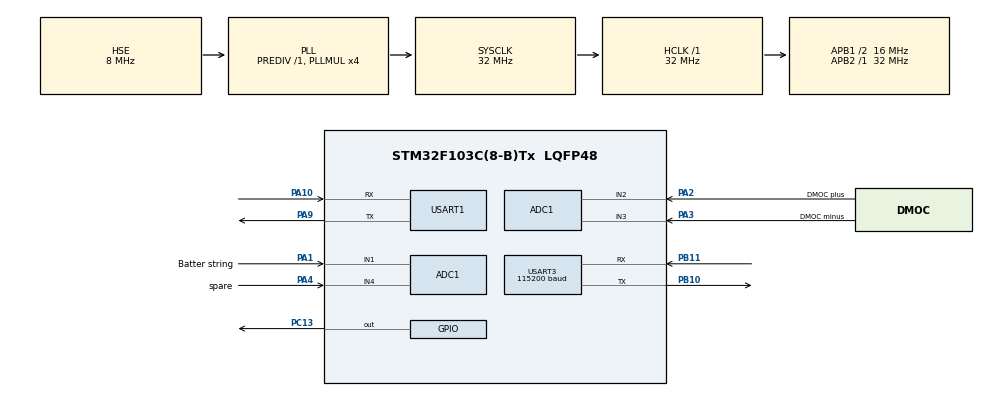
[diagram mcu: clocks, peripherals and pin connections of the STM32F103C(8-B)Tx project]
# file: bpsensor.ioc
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ADC1.Channel-0\#ChannelRegularConversion=ADC_CHANNEL_1
ADC1.Channel-1\#ChannelRegularConversion=ADC_CHANNEL_2
ADC1.Channel-2\#ChannelRegularConversion=ADC_CHANNEL_3
ADC1.Channel-3\#ChannelRegularConversion=ADC_CHANNEL_4
ADC1.Channel-4\#ChannelRegularConversion=ADC_CHANNEL_TEMPSENSOR
ADC1.Channel-5\#ChannelRegularConversion=ADC_CHANNEL_VREFINT
ADC1.ContinuousConvMode=ENABLE
ADC1.InjNumberOfConversion=0
ADC1.NbrOfConversion=6
ADC1.NbrOfConversionFlag=1
ADC1.Rank-0\#ChannelRegularConversion=1
ADC1.Rank-1\#ChannelRegularConversion=2
ADC1.Rank-2\#ChannelRegularConversion=3
ADC1.Rank-3\#ChannelRegularConversion=4
ADC1.Rank-4\#ChannelRegularConversion=5
ADC1.Rank-5\#ChannelRegularConversion=6
ADC1.SamplingTime-0\#ChannelRegularConversion=ADC_SAMPLETIME_28CYCLES_5
ADC1.SamplingTime-1\#ChannelRegularConversion=ADC_SAMPLETIME_28CYCLES_5
ADC1.SamplingTime-2\#ChannelRegularConversion=ADC_SAMPLETIME_28CYCLES_5
ADC1.SamplingTime-3\#ChannelRegularConversion=ADC_SAMPLETIME_28CYCLES_5
ADC1.SamplingTime-4\#ChannelRegularConversion=ADC_SAMPLETIME_239CYCLES_5
ADC1.SamplingTime-5\#ChannelRegularConversion=ADC_SAMPLETIME_239CYCLES_5
ADC1.master=1
Dma.ADC1.2.Direction=DMA_PERIPH_TO_MEMORY
Dma.ADC1.2.Instance=DMA1_Channel1
Dma.ADC1.2.MemDataAlignment=DMA_MDATAALIGN_HALFWORD
Dma.ADC1.2.MemInc=DMA_MINC_ENABLE
Dma.ADC1.2.Mode=DMA_CIRCULAR
Dma.ADC1.2.PeriphDataAlignment=DMA_PDATAALIGN_HALFWORD
Dma.ADC1.2.PeriphInc=DMA_PINC_DISABLE
Dma.ADC1.2.Priority=DMA_PRIORITY_LOW
Dma.Request0=USART1_RX
Dma.Request1=USART1_TX
Dma.Request2=ADC1
Dma.Request3=USART3_TX
Dma.Request4=USART3_RX
Dma.USART1_RX.0.Direction=DMA_PERIPH_TO_MEMORY
Dma.USART1_RX.0.Instance=DMA1_Channel5
Dma.USART1_RX.0.MemDataAlignment=DMA_MDATAALIGN_BYTE
Dma.USART1_RX.0.MemInc=DMA_MINC_ENABLE
Dma.USART1_RX.0.Mode=DMA_CIRCULAR
Dma.USART1_RX.0.PeriphDataAlignment=DMA_PDATAALIGN_BYTE
Dma.USART1_RX.0.PeriphInc=DMA_PINC_DISABLE
Dma.USART1_RX.0.Priority=DMA_PRIORITY_LOW
Dma.USART1_TX.1.Direction=DMA_MEMORY_TO_PERIPH
Dma.USART1_TX.1.Instance=DMA1_Channel4
Dma.USART1_TX.1.MemDataAlignment=DMA_MDATAALIGN_BYTE
Dma.USART1_TX.1.MemInc=DMA_MINC_ENABLE
Dma.USART1_TX.1.Mode=DMA_NORMAL
Dma.USART1_TX.1.PeriphDataAlignment=DMA_PDATAALIGN_BYTE
Dma.USART1_TX.1.PeriphInc=DMA_PINC_DISABLE
Dma.USART1_TX.1.Priority=DMA_PRIORITY_LOW
Dma.USART3_RX.4.Direction=DMA_PERIPH_TO_MEMORY
Dma.USART3_RX.4.Instance=DMA1_Channel3
Dma.USART3_RX.4.MemDataAlignment=DMA_MDATAALIGN_BYTE
Dma.USART3_RX.4.MemInc=DMA_MINC_ENABLE
Dma.USART3_RX.4.Mode=DMA_CIRCULAR
Dma.USART3_RX.4.PeriphDataAlignment=DMA_PDATAALIGN_BYTE
Dma.USART3_RX.4.PeriphInc=DMA_PINC_DISABLE
Dma.USART3_RX.4.Priority=DMA_PRIORITY_LOW
Dma.USART3_TX.3.Direction=DMA_MEMORY_TO_PERIPH
Dma.USART3_TX.3.Instance=DMA1_Channel2
Dma.USART3_TX.3.MemDataAlignment=DMA_MDATAALIGN_BYTE
Dma.USART3_TX.3.MemInc=DMA_MINC_ENABLE
Dma.USART3_TX.3.Mode=DMA_NORMAL
Dma.USART3_TX.3.PeriphDataAlignment=DMA_PDATAALIGN_BYTE
Dma.USART3_TX.3.PeriphInc=DMA_PINC_DISABLE
Dma.USART3_TX.3.Priority=DMA_PRIORITY_LOW
FREERTOS.INCLUDE_uxTaskGetStackHighWaterMark=1
FREERTOS.INCLUDE_xTaskGetCurrentTaskHandle=1
FREERTOS.INCLUDE_xTaskGetHandle=1
FREERTOS.MEMORY_ALLOCATION=2
FREERTOS.Tasks01=defaultTask,-3,304,StartDefaultTask,Default,NULL,Dynamic,NULL,NULL
FREERTOS.configCHECK_FOR_STACK_OVERFLOW=2
FREERTOS.configTOTAL_HEAP_SIZE=8192
FREERTOS.configUSE_TIMERS=1
Mcu.Family=STM32F1
Mcu.Name=STM32F103C(8-B)Tx
Mcu.Package=LQFP48
NVIC.DMA1_Channel1_IRQn=true\:5\:0\:false\:false\:true\:true\:false
NVIC.DMA1_Channel2_IRQn=true\:5\:0\:false\:false\:true\:true\:false
NVIC.DMA1_Channel3_IRQn=true\:5\:0\:false\:false\:true\:true\:false
NVIC.DMA1_Channel4_IRQn=true\:5\:0\:false\:false\:true\:true\:false
NVIC.DMA1_Channel5_IRQn=true\:5\:0\:false\:false\:true\:true\:false
NVIC.PriorityGroup=NVIC_PRIORITYGROUP_4
NVIC.TIM3_IRQn=true\:0\:0\:false\:false\:true\:false\:false
NVIC.TimeBase=TIM3_IRQn
NVIC.TimeBaseIP=TIM3
NVIC.USART1_IRQn=true\:8\:0\:true\:false\:true\:true\:true
NVIC.USART3_IRQn=true\:6\:0\:true\:false\:true\:true\:true
PA1.GPIO_Label=Batter string
PA1.Signal=ADCx_IN1
PA10.Mode=Asynchronous
PA10.Signal=USART1_RX
PA13.Mode=Serial_Wire
PA13.Signal=SYS_JTMS-SWDIO
PA14.Mode=Serial_Wire
PA14.Signal=SYS_JTCK-SWCLK
PA2.GPIO_Label=DMOC plus
PA2.Signal=ADCx_IN2
PA3.GPIO_Label=DMOC minus
PA3.Signal=ADCx_IN3
PA4.GPIO_Label=spare
PA4.Signal=ADCx_IN4
PA9.Mode=Asynchronous
PA9.Signal=USART1_TX
PB10.Mode=Asynchronous
PB10.Signal=USART3_TX
PB11.GPIO_PuPd=GPIO_PULLDOWN
PB11.Mode=Asynchronous
PB11.Signal=USART3_RX
PC13-TAMPER-RTC.Signal=GPIO_Output
PD0-OSC_IN.Mode=HSE-External-Oscillator
PD0-OSC_IN.Signal=RCC_OSC_IN
PD1-OSC_OUT.Mode=HSE-External-Oscillator
PD1-OSC_OUT.Signal=RCC_OSC_OUT
ProjectManager.HeapSize=0x200
ProjectManager.StackSize=0x400
ProjectManager.TargetToolchain=Makefile
RCC.ADCPresc=RCC_ADCPCLK2_DIV6
RCC.AHBFreq_Value=32000000
RCC.APB1CLKDivider=RCC_HCLK_DIV2
RCC.APB1Freq_Value=16000000
RCC.APB1TimFreq_Value=32000000
RCC.APB2Freq_Value=32000000
RCC.APB2TimFreq_Value=32000000
RCC.HCLKFreq_Value=32000000
RCC.PLLMUL=RCC_PLL_MUL4
RCC.PLLSourceVirtual=RCC_PLLSOURCE_HSE
RCC.SYSCLKFreq_VALUE=32000000
RCC.SYSCLKSource=RCC_SYSCLKSOURCE_PLLCLK
RCC.USBFreq_Value=32000000
SH.ADCx_IN1.0=ADC1_IN1,IN1
SH.ADCx_IN2.0=ADC1_IN2,IN2
SH.ADCx_IN3.0=ADC1_IN3,IN3
SH.ADCx_IN4.0=ADC1_IN4,IN4
TIM4.AutoReloadPreload=TIM_AUTORELOAD_PRELOAD_DISABLE
TIM4.Period=14400-1
USART1.VirtualMode=VM_ASYNC
USART3.BaudRate=115200
USART3.Mode=MODE_TX_RX
USART3.VirtualMode=VM_ASYNC
VP_ADC1_TempSens_Input.Mode=IN-TempSens
VP_ADC1_Vref_Input.Mode=IN-Vrefint
VP_FREERTOS_VS_ENABLE.Mode=Enabled
VP_SYS_VS_tim3.Mode=TIM3
VP_TIM4_VS_ClockSourceINT.Mode=Internal
board=custom

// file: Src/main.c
/* USER CODE BEGIN Header */
/**
  ******************************************************************************
  * @file           : main.c
  * @brief          : Main program body
  ******************************************************************************
  * This notice applies to any and all portions of this file
  * that are not between comment pairs USER CODE BEGIN and
  * USER CODE END. Other portions of this file, whether
  * inserted by the user or by software development tools
  * are owned by their respective copyright owners.
  *
  * Copyright (c) 2019 STMicroelectronics International N.V.
  * All rights reserved.
  *
  * Redistribution and use in source and binary forms, with or without
  * modification, are permitted, provided that the following conditions are met:
  *
  * 1. Redistribution of source code must retain the above copyright notice,
  *    this list of conditions and the following disclaimer.
  * 2. Redistributions in binary form must reproduce the above copyright notice,
  *    this list of conditions and the following disclaimer in the documentation
  *    and/or other materials provided with the distribution.
  * 3. Neither the name of STMicroelectronics nor the names of other
  *    contributors to this software may be used to endorse or promote products
  *    derived from this software without specific written permission.
  * 4. This software, including modifications and/or derivative works of this
  *    software, must execute solely and exclusively on microcontroller or
  *    microprocessor devices manufactured by or for STMicroelectronics.
  * 5. Redistribution and use of this software other than as permitted under
  *    this license is void and will automatically terminate your rights under
  *    this license.
  *
  * THIS SOFTWARE IS PROVIDED BY STMICROELECTRONICS AND CONTRIBUTORS "AS IS"
  * AND ANY EXPRESS, IMPLIED OR STATUTORY WARRANTIES, INCLUDING, BUT NOT
  * LIMITED TO, THE IMPLIED WARRANTIES OF MERCHANTABILITY, FITNESS FOR A
  * PARTICULAR PURPOSE AND NON-INFRINGEMENT OF THIRD PARTY INTELLECTUAL PROPERTY
  * RIGHTS ARE DISCLAIMED TO THE FULLEST EXTENT PERMITTED BY LAW. IN NO EVENT
  * SHALL STMICROELECTRONICS OR CONTRIBUTORS BE LIABLE FOR ANY DIRECT, INDIRECT,
  * INCIDENTAL, SPECIAL, EXEMPLARY, OR CONSEQUENTIAL DAMAGES (INCLUDING, BUT NOT
  * LIMITED TO, PROCUREMENT OF SUBSTITUTE GOODS OR SERVICES; LOSS OF USE, DATA,
  * OR PROFITS; OR BUSINESS INTERRUPTION) HOWEVER CAUSED AND ON ANY THEORY OF
  * LIABILITY, WHETHER IN CONTRACT, STRICT LIABILITY, OR TORT (INCLUDING
  * NEGLIGENCE OR OTHERWISE) ARISING IN ANY WAY OUT OF THE USE OF THIS SOFTWARE,
  * EVEN IF ADVISED OF THE POSSIBILITY OF SUCH DAMAGE.
  *
  ******************************************************************************
  */
/* USER CODE END Header */

#include "main.h"
#include "cmsis_os.h"

/* USER CODE BEGIN Includes */

#include "stm32f1xx_hal.h"
#include <string.h>
#include "SerialTaskSend.h"
#include "SerialTaskReceive.h"
#include "getserialbuf.h"
#include "stackwatermark.h"
#include "yprintf.h"
#include "DTW_counter.h"
#include "yscanf.h"
#include "adctask.h"
#include "ADCTask.h"
#include "adcparams.h"
#include "adcparamsinit.h"
#include "morse.h"
#include "SensorTask.h"

/* USER CODE END Includes */

/* USER CODE BEGIN PTD */
struct CAN_CTLBLOCK* pctl0;	// Pointer to CAN1 control block

uint32_t debugTX1c;
uint32_t debugTX1c_prev;

uint32_t debug03;
uint32_t debug03_prev;

extern osThreadId SerialTaskHandle;
extern osThreadId SerialTaskReceiveHandle;
extern osThreadId ADCTaskHandle;

uint8_t canflag;
uint8_t canflag1;

/* USER CODE END PTD */

ADC_HandleTypeDef hadc1;
DMA_HandleTypeDef hdma_adc1;

TIM_HandleTypeDef htim4;

UART_HandleTypeDef huart1;
UART_HandleTypeDef huart3;
DMA_HandleTypeDef hdma_usart1_rx;
DMA_HandleTypeDef hdma_usart1_tx;
DMA_HandleTypeDef hdma_usart3_tx;
DMA_HandleTypeDef hdma_usart3_rx;

osThreadId defaultTaskHandle;

void SystemClock_Config(void);
static void MX_GPIO_Init(void);
static void MX_DMA_Init(void);
static void MX_USART3_UART_Init(void);
static void MX_USART1_UART_Init(void);
static void MX_ADC1_Init(void);
static void MX_TIM4_Init(void);
void StartDefaultTask(void const * argument);

int main(void)
{
  /* USER CODE BEGIN 1 */
	BaseType_t ret;	   // Used for returns from function calls
//	osMessageQId Qidret; // Function call return
	osThreadId Thrdret;
  /* USER CODE END 1 */

  /* MCU Configuration--------------------------------------------------------*/

  /* Reset of all peripherals, Initializes the Flash interface and the Systick. */
  HAL_Init();

  /* USER CODE BEGIN Init */
	DTW_counter_init();
  /* USER CODE END Init */

  /* Configure the system clock */
  SystemClock_Config();

  /* Initialize all configured peripherals */
  MX_GPIO_Init();
  MX_DMA_Init();
  MX_USART3_UART_Init();
  MX_USART1_UART_Init();
  MX_ADC1_Init();
  MX_TIM4_Init();

  /* Create the thread(s) */
  /* definition and creation of defaultTask */
  osThreadDef(defaultTask, StartDefaultTask, osPriorityIdle, 0, 304);
  defaultTaskHandle = osThreadCreate(osThread(defaultTask), NULL);

  /* USER CODE BEGIN RTOS_THREADS */
  /* add threads, ... */
/* =================================================== */

	/* Create serial task (priority) */
	// Task handle "osThreadId SerialTaskHandle" is global
	Thrdret = xSerialTaskSendCreate(0);	// Create task and set Task priority
	if (Thrdret == NULL) morse_trap(1);

	/* Add bcb circular buffer to SerialTaskSend for usart1 */
	#define NUMCIRBCB1  16 // Size of circular buffer of BCB for usart6
	ret = xSerialTaskSendAdd(&huart1, NUMCIRBCB1, 1); // dma
	if (ret < 0) morse_trap(2); // Panic LED flashing

	/* Add bcb circular buffer to SerialTaskSend for usart3 */
	#define NUMCIRBCB3  16 // Size of circular buffer of BCB for usart3
	ret = xSerialTaskSendAdd(&huart3, NUMCIRBCB3, 1); // dma
	if (ret < 0) morse_trap(3); // Panic LED flashing

	/* Setup semaphore for yprint and sprintf et al. */
	yprintf_init();

	/* Sending readings */
	Thrdret = 	xSensorTaskCreate(1);
	if (Thrdret == NULL) morse_trap(4);

	/* ADC summing, calibration, etc. */
	Thrdret = 	xADCTaskCreate(1);
	if (Thrdret == NULL) morse_trap(5);

/* =================================================== */

  /* USER CODE END RTOS_THREADS */

  /* Start scheduler */
  osKernelStart();

  /* We should never get here as control is now taken by the scheduler */

  /* Infinite loop */
  while (1)
  {

  }
}

void SystemClock_Config(void)
{
  RCC_OscInitTypeDef RCC_OscInitStruct = {0};
  RCC_ClkInitTypeDef RCC_ClkInitStruct = {0};
  RCC_PeriphCLKInitTypeDef PeriphClkInit = {0};

  /**Initializes the CPU, AHB and APB busses clocks
  */
  RCC_OscInitStruct.OscillatorType = RCC_OSCILLATORTYPE_HSE;
  RCC_OscInitStruct.HSEState = RCC_HSE_ON;
  RCC_OscInitStruct.HSEPredivValue = RCC_HSE_PREDIV_DIV1;
  RCC_OscInitStruct.HSIState = RCC_HSI_ON;
  RCC_OscInitStruct.PLL.PLLState = RCC_PLL_ON;
  RCC_OscInitStruct.PLL.PLLSource = RCC_PLLSOURCE_HSE;
  RCC_OscInitStruct.PLL.PLLMUL = RCC_PLL_MUL4;
  if (HAL_RCC_OscConfig(&RCC_OscInitStruct) != HAL_OK)
  {
    Error_Handler();
  }
  /**Initializes the CPU, AHB and APB busses clocks
  */
  RCC_ClkInitStruct.ClockType = RCC_CLOCKTYPE_HCLK|RCC_CLOCKTYPE_SYSCLK
                              |RCC_CLOCKTYPE_PCLK1|RCC_CLOCKTYPE_PCLK2;
  RCC_ClkInitStruct.SYSCLKSource = RCC_SYSCLKSOURCE_PLLCLK;
  RCC_ClkInitStruct.AHBCLKDivider = RCC_SYSCLK_DIV1;
  RCC_ClkInitStruct.APB1CLKDivider = RCC_HCLK_DIV2;
  RCC_ClkInitStruct.APB2CLKDivider = RCC_HCLK_DIV1;

  if (HAL_RCC_ClockConfig(&RCC_ClkInitStruct, FLASH_LATENCY_1) != HAL_OK)
  {
    Error_Handler();
  }
  PeriphClkInit.PeriphClockSelection = RCC_PERIPHCLK_ADC;
  PeriphClkInit.AdcClockSelection = RCC_ADCPCLK2_DIV6;
  if (HAL_RCCEx_PeriphCLKConfig(&PeriphClkInit) != HAL_OK)
  {
    Error_Handler();
  }
}

static void MX_ADC1_Init(void)
{

  ADC_ChannelConfTypeDef sConfig = {0};

  /**Common config
  */
  hadc1.Instance = ADC1;
  hadc1.Init.ScanConvMode = ADC_SCAN_ENABLE;
  hadc1.Init.ContinuousConvMode = ENABLE;
  hadc1.Init.DiscontinuousConvMode = DISABLE;
  hadc1.Init.ExternalTrigConv = ADC_SOFTWARE_START;
  hadc1.Init.DataAlign = ADC_DATAALIGN_RIGHT;
  hadc1.Init.NbrOfConversion = 6;
  if (HAL_ADC_Init(&hadc1) != HAL_OK)
  {
    Error_Handler();
  }
  /**Configure Regular Channel
  */
  sConfig.Channel = ADC_CHANNEL_1;
  sConfig.Rank = ADC_REGULAR_RANK_1;
  sConfig.SamplingTime = ADC_SAMPLETIME_28CYCLES_5;
  if (HAL_ADC_ConfigChannel(&hadc1, &sConfig) != HAL_OK)
  {
    Error_Handler();
  }
  /**Configure Regular Channel
  */
  sConfig.Channel = ADC_CHANNEL_2;
  sConfig.Rank = ADC_REGULAR_RANK_2;
  if (HAL_ADC_ConfigChannel(&hadc1, &sConfig) != HAL_OK)
  {
    Error_Handler();
  }
  /**Configure Regular Channel
  */
  sConfig.Channel = ADC_CHANNEL_3;
  sConfig.Rank = ADC_REGULAR_RANK_3;
  if (HAL_ADC_ConfigChannel(&hadc1, &sConfig) != HAL_OK)
  {
    Error_Handler();
  }
  /**Configure Regular Channel
  */
  sConfig.Channel = ADC_CHANNEL_4;
  sConfig.Rank = ADC_REGULAR_RANK_4;
  if (HAL_ADC_ConfigChannel(&hadc1, &sConfig) != HAL_OK)
  {
    Error_Handler();
  }
  /**Configure Regular Channel
  */
  sConfig.Channel = ADC_CHANNEL_TEMPSENSOR;
  sConfig.Rank = ADC_REGULAR_RANK_5;
  sConfig.SamplingTime = ADC_SAMPLETIME_239CYCLES_5;
  if (HAL_ADC_ConfigChannel(&hadc1, &sConfig) != HAL_OK)
  {
    Error_Handler();
  }
  /**Configure Regular Channel
  */
  sConfig.Channel = ADC_CHANNEL_VREFINT;
  sConfig.Rank = ADC_REGULAR_RANK_6;
  if (HAL_ADC_ConfigChannel(&hadc1, &sConfig) != HAL_OK)
  {
    Error_Handler();
  }

}

static void MX_TIM4_Init(void)
{

  TIM_ClockConfigTypeDef sClockSourceConfig = {0};
  TIM_MasterConfigTypeDef sMasterConfig = {0};

  htim4.Instance = TIM4;
  htim4.Init.Prescaler = 0;
  htim4.Init.CounterMode = TIM_COUNTERMODE_UP;
  htim4.Init.Period = 14400-1;
  htim4.Init.ClockDivision = TIM_CLOCKDIVISION_DIV1;
  htim4.Init.AutoReloadPreload = TIM_AUTORELOAD_PRELOAD_DISABLE;
  if (HAL_TIM_Base_Init(&htim4) != HAL_OK)
  {
    Error_Handler();
  }
  sClockSourceConfig.ClockSource = TIM_CLOCKSOURCE_INTERNAL;
  if (HAL_TIM_ConfigClockSource(&htim4, &sClockSourceConfig) != HAL_OK)
  {
    Error_Handler();
  }
  sMasterConfig.MasterOutputTrigger = TIM_TRGO_RESET;
  sMasterConfig.MasterSlaveMode = TIM_MASTERSLAVEMODE_DISABLE;
  if (HAL_TIMEx_MasterConfigSynchronization(&htim4, &sMasterConfig) != HAL_OK)
  {
    Error_Handler();
  }

}

static void MX_USART1_UART_Init(void)
{

  huart1.Instance = USART1;
  huart1.Init.BaudRate = 115200;
  huart1.Init.WordLength = UART_WORDLENGTH_8B;
  huart1.Init.StopBits = UART_STOPBITS_1;
  huart1.Init.Parity = UART_PARITY_NONE;
  huart1.Init.Mode = UART_MODE_TX_RX;
  huart1.Init.HwFlowCtl = UART_HWCONTROL_NONE;
  huart1.Init.OverSampling = UART_OVERSAMPLING_16;
  if (HAL_UART_Init(&huart1) != HAL_OK)
  {
    Error_Handler();
  }

}

static void MX_USART3_UART_Init(void)
{

  huart3.Instance = USART3;
  huart3.Init.BaudRate = 115200;
  huart3.Init.WordLength = UART_WORDLENGTH_8B;
  huart3.Init.StopBits = UART_STOPBITS_1;
  huart3.Init.Parity = UART_PARITY_NONE;
  huart3.Init.Mode = UART_MODE_TX_RX;
  huart3.Init.HwFlowCtl = UART_HWCONTROL_NONE;
  huart3.Init.OverSampling = UART_OVERSAMPLING_16;
  if (HAL_UART_Init(&huart3) != HAL_OK)
  {
    Error_Handler();
  }

}

static void MX_DMA_Init(void)
{
  /* DMA controller clock enable */
  __HAL_RCC_DMA1_CLK_ENABLE();

  /* DMA interrupt init */
  /* DMA1_Channel1_IRQn interrupt configuration */
  HAL_NVIC_SetPriority(DMA1_Channel1_IRQn, 5, 0);
  HAL_NVIC_EnableIRQ(DMA1_Channel1_IRQn);
  /* DMA1_Channel2_IRQn interrupt configuration */
  HAL_NVIC_SetPriority(DMA1_Channel2_IRQn, 5, 0);
  HAL_NVIC_EnableIRQ(DMA1_Channel2_IRQn);
  /* DMA1_Channel3_IRQn interrupt configuration */
  HAL_NVIC_SetPriority(DMA1_Channel3_IRQn, 5, 0);
  HAL_NVIC_EnableIRQ(DMA1_Channel3_IRQn);
  /* DMA1_Channel4_IRQn interrupt configuration */
  HAL_NVIC_SetPriority(DMA1_Channel4_IRQn, 5, 0);
  HAL_NVIC_EnableIRQ(DMA1_Channel4_IRQn);
  /* DMA1_Channel5_IRQn interrupt configuration */
  HAL_NVIC_SetPriority(DMA1_Channel5_IRQn, 5, 0);
  HAL_NVIC_EnableIRQ(DMA1_Channel5_IRQn);

}

static void MX_GPIO_Init(void)
{
  GPIO_InitTypeDef GPIO_InitStruct = {0};

  /* GPIO Ports Clock Enable */
  __HAL_RCC_GPIOC_CLK_ENABLE();
  __HAL_RCC_GPIOD_CLK_ENABLE();
  __HAL_RCC_GPIOA_CLK_ENABLE();
  __HAL_RCC_GPIOB_CLK_ENABLE();

  /*Configure GPIO pin Output Level */
  HAL_GPIO_WritePin(GPIOC, GPIO_PIN_13, GPIO_PIN_RESET);

  /*Configure GPIO pin : PC13 */
  GPIO_InitStruct.Pin = GPIO_PIN_13;
  GPIO_InitStruct.Mode = GPIO_MODE_OUTPUT_PP;
  GPIO_InitStruct.Pull = GPIO_NOPULL;
  GPIO_InitStruct.Speed = GPIO_SPEED_FREQ_LOW;
  HAL_GPIO_Init(GPIOC, &GPIO_InitStruct);

}

void StartDefaultTask(void const * argument)
{

  /* USER CODE BEGIN 5 */
	struct SERIALSENDTASKBCB* pbuf1 = getserialbuf(&huart1,96);
	if (pbuf1 == NULL) morse_trap(11);

	int ctr = 0; // Running count
	uint32_t heapsize;

// Copy of fast sum of ADC readings
int i;

// Number ADC readings per sec: 1153-1154.
extern uint32_t adcsumdb[6];// DMA sums
//extern uint32_t adcdbctr; // ADC DMA sum counter
double dt1;

osDelay(50); // Allow ADC task to get these initialized

double dx25    = adc1.lc.calintern.dvtemp * (1.0/4.3E-3);
if (dx25 < 0.1) morse_trap(12);

double dxdvref = adc1.intern.dvref * (1.0/4.3E-3);
if (dxdvref < 0.1) morse_trap(13);

// DTW time duration checks
extern uint32_t adcdbg2;

uint32_t adc1_ctr_prev = adc1.ctr;
extern uint32_t dbgSS;
uint32_t dbgSS_prev = dbgSS;
extern char dbgc[32];

  /* Infinite loop */
  for(;;)
  {
    osDelay(1000);

	HAL_GPIO_TogglePin(GPIOC,GPIO_PIN_13); // LED Green
#define SHOWSTACKWATERMARK
#ifdef SHOWSTACKWATERMARK
			// Following takes 1370791 sysclock ticks 19.0 ms (includes serial port wait)
			/* Display the amount of unused stack space for tasks. */
			yprintf(&pbuf1,"\n\n\r#%4i Unused Task stack space--", ctr++);
			stackwatermark_show(defaultTaskHandle,&pbuf1,"defaultTask---");
			stackwatermark_show(ADCTaskHandle    ,&pbuf1,"ADCTask-------");
			stackwatermark_show(SensorTaskHandle ,&pbuf1,"SensorTask----");
			stackwatermark_show(SerialTaskHandle ,&pbuf1,"SerialTaskSend");
	stackwatermark_show(SerialTaskReceiveHandle,&pbuf1,"SerialReceiveTask");

			/* Heap usage (and test fp woking. */
			heapsize = xPortGetFreeHeapSize();
			yprintf(&pbuf1,"\n\r#GetFreeHeapSize: total: %i free %i %3.1f%% used: %i\n\n\r",configTOTAL_HEAP_SIZE, heapsize,\
				100.0*(float)heapsize/configTOTAL_HEAP_SIZE,(configTOTAL_HEAP_SIZE-heapsize));
#endif

#define SHOWSUMMEDADCCHANNELS
#ifdef  SHOWSUMMEDADCCHANNELS
		for (i = 0; i < 6; i++)
		{
			yprintf(&pbuf1,"%7i ",adcsumdb[i]); // This is what routines work with
		}
		yprintf(&pbuf1, " :%7i %8.1f\n\r ", adc1.chan[ADC1IDX_INTERNALTEMP].adcfil, (double)(adc1.chan[ADC1IDX_INTERNALVREF].adcfil));///adc1.intern.iiradcvref.pprm->scale);
#endif

#define SHOWEXTENDEDSUMMEDADCCHANNELS
#ifdef  SHOWEXTENDEDSUMMEDADCCHANNELS
		yprintf(&pbuf1, "\n\r    hv1    hv2    hv3     hv4    temp    vref\n\r");
		for (i = 0; i < 6; i++)
		{
			yprintf(&pbuf1,"%8.1f",(double)(adc1.chan[i].xsum[1])*(1.0/ADCEXTENDSUMCT));
		}
		yprintf(&pbuf1,"\n\r");
#endif

#define SHOWINTERNALTEMPERATURECALCULATIONS
#ifdef SHOWINTERNALTEMPERATURECALCULATIONS
	/* Internal temperature computation check. */
	// The following takes 1418 sysclock ticks
	dt1 = (dx25 - (dxdvref * ((double)adc1.chan[ADC1IDX_INTERNALTEMP].adcfil / (double)adc1.chan[ADC1IDX_INTERNALVREF].adcfil )))  + adc1.lc.calintern.drmtemp;

	yprintf(&pbuf1,"\n\rT degC: (doubles)%6.2f (scaled int)%6.2f\n\r", dt1,(double)adc1.intern.itemp/(1<<ADCSCALEbits), adcdbg2,adc1.intern.adccmpvref);
#endif

	yprintf(&pbuf1,"\n\rV ival: %8.3f %8.3f %8.3f %8.3f\n\r",
	  (adc1.chan[0].k  * (double)adc1.chan[0].ival  * (1.0/(1<<ADCSCALEbits))),
	  (adc1.chan[1].k  * (double)adc1.chan[1].ival  * (1.0/(1<<ADCSCALEbits))),
	  (adc1.chan[2].k  * (double)adc1.chan[2].ival  * (1.0/(1<<ADCSCALEbits))),
	  (adc1.chan[3].k  * (double)adc1.chan[3].ival  * (1.0/(1<<ADCSCALEbits))) );

	yprintf(&pbuf1," %8i %8i %8i %8i\n\r",adc1.chan[0].ival,adc1.chan[1].ival,adc1.chan[2].ival,adc1.chan[3].ival);

yprintf(&pbuf1,"UART CTR %i %i %s\n\r",adc1.ctr-adc1_ctr_prev,dbgSS-dbgSS_prev,dbgc);
adc1_ctr_prev = adc1.ctr;
dbgSS_prev = dbgSS;
  }

  /* USER CODE END 5 */
}

void HAL_TIM_PeriodElapsedCallback(TIM_HandleTypeDef *htim)
{
  if (htim->Instance == TIM3) {
    HAL_IncTick();
  }
}

void Error_Handler(void)
{
}

#ifdef  USE_FULL_ASSERT
/**
  * @brief  Reports the name of the source file and the source line number
  *         where the assert_param error has occurred.
  * @param  file: pointer to the source file name
  * @param  line: assert_param error line source number
  * @retval None
  */
void assert_failed(uint8_t *file, uint32_t line)
{
  /* USER CODE BEGIN 6 */
  /* User can add his own implementation to report the file name and line number,
     tex: printf("Wrong parameters value: file %s on line %d\r\n", file, line) */
morse_trap(71);
  /* USER CODE END 6 */
}
#endif /* USE_FULL_ASSERT */

/************************ (C) COPYRIGHT STMicroelectronics *****END OF FILE****/

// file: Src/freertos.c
/* USER CODE BEGIN Header */
/**
  ******************************************************************************
  * File Name          : freertos.c
  * Description        : Code for freertos applications
  ******************************************************************************
  * This notice applies to any and all portions of this file
  * that are not between comment pairs USER CODE BEGIN and
  * USER CODE END. Other portions of this file, whether
  * inserted by the user or by software development tools
  * are owned by their respective copyright owners.
  *
  * Copyright (c) 2019 STMicroelectronics International N.V.
  * All rights reserved.
  *
  * Redistribution and use in source and binary forms, with or without
  * modification, are permitted, provided that the following conditions are met:
  *
  * 1. Redistribution of source code must retain the above copyright notice,
  *    this list of conditions and the following disclaimer.
  * 2. Redistributions in binary form must reproduce the above copyright notice,
  *    this list of conditions and the following disclaimer in the documentation
  *    and/or other materials provided with the distribution.
  * 3. Neither the name of STMicroelectronics nor the names of other
  *    contributors to this software may be used to endorse or promote products
  *    derived from this software without specific written permission.
  * 4. This software, including modifications and/or derivative works of this
  *    software, must execute solely and exclusively on microcontroller or
  *    microprocessor devices manufactured by or for STMicroelectronics.
  * 5. Redistribution and use of this software other than as permitted under
  *    this license is void and will automatically terminate your rights under
  *    this license.
  *
  * THIS SOFTWARE IS PROVIDED BY STMICROELECTRONICS AND CONTRIBUTORS "AS IS"
  * AND ANY EXPRESS, IMPLIED OR STATUTORY WARRANTIES, INCLUDING, BUT NOT
  * LIMITED TO, THE IMPLIED WARRANTIES OF MERCHANTABILITY, FITNESS FOR A
  * PARTICULAR PURPOSE AND NON-INFRINGEMENT OF THIRD PARTY INTELLECTUAL PROPERTY
  * RIGHTS ARE DISCLAIMED TO THE FULLEST EXTENT PERMITTED BY LAW. IN NO EVENT
  * SHALL STMICROELECTRONICS OR CONTRIBUTORS BE LIABLE FOR ANY DIRECT, INDIRECT,
  * INCIDENTAL, SPECIAL, EXEMPLARY, OR CONSEQUENTIAL DAMAGES (INCLUDING, BUT NOT
  * LIMITED TO, PROCUREMENT OF SUBSTITUTE GOODS OR SERVICES; LOSS OF USE, DATA,
  * OR PROFITS; OR BUSINESS INTERRUPTION) HOWEVER CAUSED AND ON ANY THEORY OF
  * LIABILITY, WHETHER IN CONTRACT, STRICT LIABILITY, OR TORT (INCLUDING
  * NEGLIGENCE OR OTHERWISE) ARISING IN ANY WAY OUT OF THE USE OF THIS SOFTWARE,
  * EVEN IF ADVISED OF THE POSSIBILITY OF SUCH DAMAGE.
  *
  ******************************************************************************
  */
/* USER CODE END Header */

#include "FreeRTOS.h"
#include "task.h"
#include "main.h"

/* GetIdleTaskMemory prototype (linked to static allocation support) */
void vApplicationGetIdleTaskMemory( StaticTask_t **ppxIdleTaskTCBBuffer, StackType_t **ppxIdleTaskStackBuffer, uint32_t *pulIdleTaskStackSize );

/* GetTimerTaskMemory prototype (linked to static allocation support) */
void vApplicationGetTimerTaskMemory( StaticTask_t **ppxTimerTaskTCBBuffer, StackType_t **ppxTimerTaskStackBuffer, uint32_t *pulTimerTaskStackSize );

/* Hook prototypes */
void vApplicationStackOverflowHook(xTaskHandle xTask, signed char *pcTaskName);

/* USER CODE BEGIN 4 */
__weak void vApplicationStackOverflowHook(xTaskHandle xTask, signed char *pcTaskName)
{
   /* Run time stack overflow checking is performed if
   configCHECK_FOR_STACK_OVERFLOW is defined to 1 or 2. This hook function is
   called if a stack overflow is detected. */
}
/* USER CODE END 4 */

/* USER CODE BEGIN GET_IDLE_TASK_MEMORY */
static StaticTask_t xIdleTaskTCBBuffer;
static StackType_t xIdleStack[configMINIMAL_STACK_SIZE];

void vApplicationGetIdleTaskMemory( StaticTask_t **ppxIdleTaskTCBBuffer, StackType_t **ppxIdleTaskStackBuffer, uint32_t *pulIdleTaskStackSize )
{
  *ppxIdleTaskTCBBuffer = &xIdleTaskTCBBuffer;
  *ppxIdleTaskStackBuffer = &xIdleStack[0];
  *pulIdleTaskStackSize = configMINIMAL_STACK_SIZE;
  /* place for user code */
}
/* USER CODE END GET_IDLE_TASK_MEMORY */

/* USER CODE BEGIN GET_TIMER_TASK_MEMORY */
static StaticTask_t xTimerTaskTCBBuffer;
static StackType_t xTimerStack[configTIMER_TASK_STACK_DEPTH];

void vApplicationGetTimerTaskMemory( StaticTask_t **ppxTimerTaskTCBBuffer, StackType_t **ppxTimerTaskStackBuffer, uint32_t *pulTimerTaskStackSize )
{
  *ppxTimerTaskTCBBuffer = &xTimerTaskTCBBuffer;
  *ppxTimerTaskStackBuffer = &xTimerStack[0];
  *pulTimerTaskStackSize = configTIMER_TASK_STACK_DEPTH;
  /* place for user code */
}
/* USER CODE END GET_TIMER_TASK_MEMORY */

/************************ (C) COPYRIGHT STMicroelectronics *****END OF FILE****/
